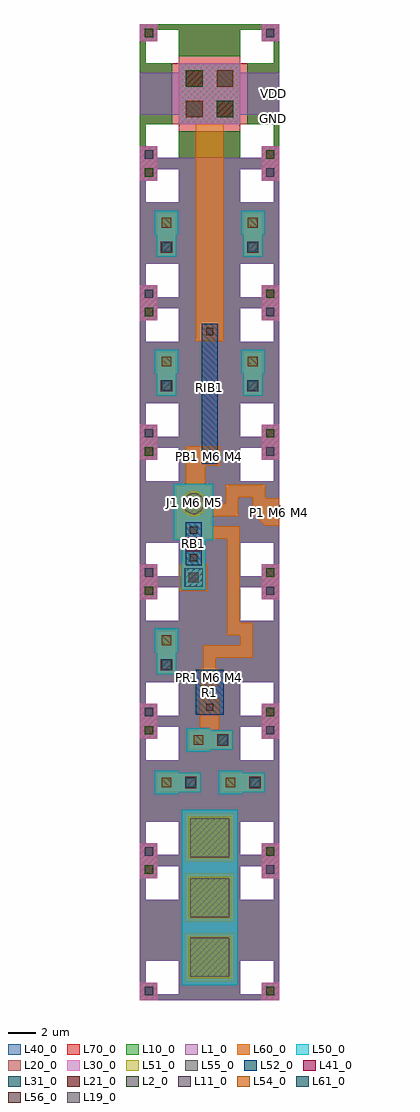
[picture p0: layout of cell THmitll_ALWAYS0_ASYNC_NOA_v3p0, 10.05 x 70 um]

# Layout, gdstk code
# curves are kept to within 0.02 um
from math import pi, radians
import gdstk
lib = gdstk.Library(unit=1e-6, precision=1e-09)
def R(c, l, rs):  # rectangles x0, y0, x1, y1
    for r in rs: c.add(gdstk.rectangle(r[:2], r[2:], *l))
def P(c, l, *ps):  # polygons
    for p in ps: c.add(gdstk.Polygon(p, *l))
L1_0 = (1, 0)
L2_0 = (2, 0)
L10_0 = (10, 0)
L11_0 = (11, 0)
L19_0 = (19, 0)
L20_0 = (20, 0)
L21_0 = (21, 0)
L30_0 = (30, 0)
L31_0 = (31, 0)
L40_0 = (40, 0)
L41_0 = (41, 0)
L50_0 = (50, 0)
L51_0 = (51, 0)
L52_0 = (52, 0)
L54_0 = (54, 0)
L55_0 = (55, 0)
L56_0 = (56, 0)
L60_0 = (60, 0)
L61_0 = (61, 0)
L70_0 = (70, 0)

ls_tr_m7_1 = lib.new_cell('ls_tr_M7$1')
P(ls_tr_m7_1, L70_0, [(0,0),(0,10),(1.25,10),(1.25,8.75),(0.4,8.75),(0.4,1.25),(1.25,1.25),(1.25,0.4),(2.8,0.4),(2.8,2.8),(0.4,2.8),(0.4,7.2),(2.8,7.2),(2.8,9.6),(1.25,9.6),(1.25,10),(7.2,10),(7.2,0.4),(8.75,0.4),(8.75,1.25),(9.6,1.25),(9.6,2.8),(7.2,2.8),(7.2,7.2),(9.6,7.2),(9.6,8.75),(8.75,8.75),(8.75,9.6),(7.2,9.6),(7.2,10),(10,10),(10,0)])

ls_tr_u_m4_nptl = lib.new_cell('ls_tr_u_M4_NPTL')
P(ls_tr_u_m4_nptl, L1_0, [(0,0),(0,10),(1.25,10),(1.25,8.75),(0.4,8.75),(0.4,1.25),(1.25,1.25),(1.25,0.4),(2.8,0.4),(2.8,2.8),(0.4,2.8),(0.4,7.2),(2.8,7.2),(2.8,9.6),(1.25,9.6),(1.25,10),(7.2,10),(7.2,0.4),(8.75,0.4),(8.75,1.25),(9.6,1.25),(9.6,2.8),(7.2,2.8),(7.2,7.2),(9.6,7.2),(9.6,8.75),(8.75,8.75),(8.75,9.6),(7.2,9.6),(7.2,10),(10,10),(10,0)])
R(ls_tr_u_m4_nptl, L2_0, [(9.05,0.35,9.65,0.95), (0.35,9.05,0.95,9.65)])
R(ls_tr_u_m4_nptl, L10_0, [(0,0,1.25,1.25), (8.75,0,10,1.25), (0,8.75,1.25,10), (8.75,8.75,10,10)])
P(ls_tr_u_m4_nptl, L10_0, [(1.25,0),(1.25,0.4),(2.8,0.4),(2.8,2.8),(0.4,2.8),(0.4,1.25),(0,1.25),(0,8.75),(0.4,8.75),(0.4,7.2),(2.8,7.2),(2.8,9.6),(1.25,9.6),(1.25,10),(8.75,10),(8.75,9.6),(7.2,9.6),(7.2,7.2),(9.6,7.2),(9.6,8.75),(10,8.75),(10,1.25),(9.6,1.25),(9.6,2.8),(7.2,2.8),(7.2,0.4),(8.75,0.4),(8.75,0)])
R(ls_tr_u_m4_nptl, L11_0, [(0.35,0.35,0.95,0.95), (9.05,9.05,9.65,9.65)])
R(ls_tr_u_m4_nptl, L20_0, [(0,0,1.25,1.25), (8.75,0,10,1.25), (0,8.75,1.25,10), (8.75,8.75,10,10)])
R(ls_tr_u_m4_nptl, L21_0, [(9.05,0.35,9.65,0.95), (0.35,9.05,0.95,9.65)])
R(ls_tr_u_m4_nptl, L30_0, [(0,0,1.25,1.25), (8.75,0,10,1.25), (0,8.75,1.25,10), (8.75,8.75,10,10)])
R(ls_tr_u_m4_nptl, L31_0, [(0.35,0.35,0.95,0.95), (9.05,9.05,9.65,9.65)])
P(ls_tr_u_m4_nptl, L40_0, [(0,0),(0,10),(1.25,10),(1.25,8.75),(0.4,8.75),(0.4,1.25),(1.25,1.25),(1.25,0.4),(2.8,0.4),(2.8,2.8),(0.4,2.8),(0.4,7.2),(2.8,7.2),(2.8,9.6),(1.25,9.6),(1.25,10),(7.2,10),(7.2,0.4),(8.75,0.4),(8.75,1.25),(9.6,1.25),(9.6,2.8),(7.2,2.8),(7.2,7.2),(9.6,7.2),(9.6,8.75),(8.75,8.75),(8.75,9.6),(7.2,9.6),(7.2,10),(10,10),(10,0)])
ls_tr_u_m4_nptl.add(gdstk.Reference(ls_tr_m7_1, (0,0)))

ls_tr_bias_pillar_m0m6 = lib.new_cell('ls_tr_bias_pillar_M0M6')
R(ls_tr_bias_pillar_m0m6, L1_0, [(0,0,1.25,1.25), (8.75,0,10,1.25), (2.8,2.8,7.2,7.2), (0,8.75,1.25,10), (8.75,8.75,10,10)])
R(ls_tr_bias_pillar_m0m6, L2_0, [(9.05,0.35,9.65,0.95), (5.5,3.3,6.7,4.5), (3.3,5.5,4.5,6.7), (0.35,9.05,0.95,9.65)])
R(ls_tr_bias_pillar_m0m6, L10_0, [(0,0,1.25,1.25), (8.75,0,10,1.25), (2.8,2.8,7.2,7.2), (0,8.75,1.25,10), (8.75,8.75,10,10)])
P(ls_tr_bias_pillar_m0m6, L10_0, [(0,0),(0,10),(7.2,10),(7.2,7.7),(2.8,7.7),(2.8,9.6),(1.25,9.6),(1.25,8.75),(0.4,8.75),(0.4,7.2),(2.3,7.2),(2.3,2.8),(0.4,2.8),(0.4,1.25),(1.25,1.25),(1.25,0.4),(2.8,0.4),(2.8,2.3),(7.2,2.3),(7.2,0.4),(8.75,0.4),(8.75,1.25),(9.6,1.25),(9.6,2.8),(7.7,2.8),(7.7,7.2),(9.6,7.2),(9.6,8.75),(8.75,8.75),(8.75,9.6),(7.2,9.6),(7.2,10),(10,10),(10,0)])
R(ls_tr_bias_pillar_m0m6, L11_0, [(0.35,0.35,0.95,0.95), (3.3,3.3,4.5,4.5), (5.5,5.5,6.7,6.7), (9.05,9.05,9.65,9.65)])
R(ls_tr_bias_pillar_m0m6, L20_0, [(0,0,1.25,1.25), (8.75,0,10,1.25), (2.8,2.8,7.2,7.2), (0,8.75,1.25,10), (8.75,8.75,10,10)])
R(ls_tr_bias_pillar_m0m6, L21_0, [(9.05,0.35,9.65,0.95), (5.5,3.3,6.7,4.5), (3.3,5.5,4.5,6.7), (0.35,9.05,0.95,9.65)])
R(ls_tr_bias_pillar_m0m6, L30_0, [(0,0,1.25,1.25), (8.75,0,10,1.25), (2.8,2.8,7.2,7.2), (0,8.75,1.25,10), (8.75,8.75,10,10)])
R(ls_tr_bias_pillar_m0m6, L31_0, [(0.35,0.35,0.95,0.95), (3.3,3.3,4.5,4.5), (5.5,5.5,6.7,6.7), (9.05,9.05,9.65,9.65)])
R(ls_tr_bias_pillar_m0m6, L40_0, [(2.8,2.8,7.2,7.2)])
P(ls_tr_bias_pillar_m0m6, L40_0, [(0,0),(0,10),(7.2,10),(7.2,7.7),(2.8,7.7),(2.8,9.6),(1.25,9.6),(1.25,8.75),(0.4,8.75),(0.4,7.2),(2.3,7.2),(2.3,2.8),(0.4,2.8),(0.4,1.25),(1.25,1.25),(1.25,0.4),(2.8,0.4),(2.8,2.3),(7.2,2.3),(7.2,0.4),(8.75,0.4),(8.75,1.25),(9.6,1.25),(9.6,2.8),(7.7,2.8),(7.7,7.2),(9.6,7.2),(9.6,8.75),(8.75,8.75),(8.75,9.6),(7.2,9.6),(7.2,10),(10,10),(10,0)])
R(ls_tr_bias_pillar_m0m6, L41_0, [(5.5,3.3,6.7,4.5), (3.3,5.5,4.5,6.7)])
R(ls_tr_bias_pillar_m0m6, L50_0, [(2.8,2.8,7.2,7.2)])
R(ls_tr_bias_pillar_m0m6, L54_0, [(3.3,3.3,4.5,4.5), (5.5,5.5,6.7,6.7)])
R(ls_tr_bias_pillar_m0m6, L60_0, [(2.8,2.8,7.2,7.2)])
P(ls_tr_bias_pillar_m0m6, L70_0, [(0,0),(0,10),(1.25,10),(1.25,8.75),(0.4,8.75),(0.4,1.25),(1.25,1.25),(1.25,0.4),(2.8,0.4),(2.8,2.8),(0.4,2.8),(0.4,7.2),(2.8,7.2),(2.8,9.6),(1.25,9.6),(1.25,10),(7.2,10),(7.2,0.4),(8.75,0.4),(8.75,1.25),(9.6,1.25),(9.6,2.8),(7.2,2.8),(7.2,7.2),(9.6,7.2),(9.6,8.75),(8.75,8.75),(8.75,9.6),(7.2,9.6),(7.2,10),(10,10),(10,0)])

ls_conn_m5m6m7 = lib.new_cell('ls_conn_M5M6M7')
R(ls_conn_m5m6m7, L60_0, [(-0.65,-0.65,1.35,1.35)])
R(ls_conn_m5m6m7, L61_0, [(-0.3,-0.3,1,1)])
R(ls_conn_m5m6m7, L70_0, [(-0.65,-0.65,1.35,1.35)])

th_jj_250_sg = lib.new_cell('th_jj_250_sg')
R(th_jj_250_sg, L41_0, [(-0.5,2.4,0.5,3.4)])
R(th_jj_250_sg, L50_0, [(-1.425,-1.425,1.425,2.625), (-0.875,2.625,0.875,6.175)])
P(th_jj_250_sg, L51_0, [(0,-0.91),(-0.18,-0.895),(-0.35,-0.84),(-0.645,-0.645),(-0.84,-0.35),(-0.91,0),(-0.895,0.18),(-0.84,0.35),(-0.645,0.645),(-0.35,0.84),(-0.18,0.895),(0,0.91),(0.18,0.895),(0.35,0.84),(0.645,0.645),(0.84,0.35),(0.895,0.18),(0.91,0),(0.84,-0.35),(0.645,-0.645),(0.35,-0.84),(0.18,-0.895)])
R(th_jj_250_sg, L52_0, [(-0.575,1.35,0.575,4.425)])
R(th_jj_250_sg, L54_0, [(-0.35,4.95,0.35,5.65)])
P(th_jj_250_sg, L55_0, [(0,-0.76),(-0.15,-0.75),(-0.29,-0.7),(-0.54,-0.54),(-0.7,-0.29),(-0.75,-0.15),(-0.76,0),(-0.75,0.15),(-0.7,0.29),(-0.54,0.54),(-0.29,0.7),(-0.15,0.75),(0,0.76),(0.15,0.75),(0.29,0.7),(0.54,0.54),(0.7,0.29),(0.75,0.15),(0.76,0),(0.75,-0.15),(0.7,-0.29),(0.54,-0.54),(0.29,-0.7),(0.15,-0.75)])
R(th_jj_250_sg, L56_0, [(-0.26,1.64,0.26,2.16), (-0.26,3.63,0.26,4.15)])
R(th_jj_250_sg, L60_0, [(-1.275,-1.275,1.275,2.525), (-0.725,3.25,0.725,6.025)])
th_jj_250_sg.add(gdstk.Reference(ls_conn_m5m6m7, (0.35,5.65), rotation=pi))

th_ib_175 = lib.new_cell('th_ib_175')
R(th_ib_175, L52_0, [(-0.575,0,0.575,10.05)])
R(th_ib_175, L56_0, [(-0.26,0.29,0.26,0.81), (-0.26,9.26,0.26,9.78)])
R(th_ib_175, L60_0, [(-0.625,-0.1,0.625,1.175), (-0.625,8.9,0.625,10.15)])

ls_conn_m4m5m6m7 = lib.new_cell('ls_conn_M4M5M6M7')
R(ls_conn_m4m5m6m7, L40_0, [(0,0,1.4,1.4)])
R(ls_conn_m4m5m6m7, L41_0, [(0.3,0.3,1.1,1.1)])
P(ls_conn_m4m5m6m7, L50_0, [(1.6,-0.15),(1.6,0),(0,0),(0,1.4),(1.6,1.4),(1.6,1.55),(3.3,1.55),(3.3,-0.15)])
R(ls_conn_m4m5m6m7, L54_0, [(2.1,0.35,2.8,1.05)])
R(ls_conn_m4m5m6m7, L60_0, [(0,0,3.15,1.4)])
R(ls_conn_m4m5m6m7, L61_0, [(0.35,0.35,1.05,1.05)])
R(ls_conn_m4m5m6m7, L70_0, [(0,0,1.4,1.4)])

ls_fakejj_3umx3um = lib.new_cell('ls_FakeJJ_3umx3um')
R(ls_fakejj_3umx3um, L40_0, [(-2,-2,2,2)])
R(ls_fakejj_3umx3um, L50_0, [(-2,-2,2,2)])
R(ls_fakejj_3umx3um, L51_0, [(-1.5,-1.5,1.5,1.5)])
R(ls_fakejj_3umx3um, L55_0, [(-1.4,-1.4,1.4,1.4)])
R(ls_fakejj_3umx3um, L60_0, [(-1.75,-1.75,1.75,1.75)])

ls_res_2 = lib.new_cell('ls_res_2')
R(ls_res_2, L52_0, [(-1,0,1,3.225)])
R(ls_res_2, L56_0, [(-0.26,0.29,0.26,0.81), (-0.26,2.44,0.26,2.96)])
R(ls_res_2, L60_0, [(-0.625,-0.1,0.625,1.175), (-0.625,2.075,0.625,3.325)])

thmitll_always0_async_no = lib.new_cell('THmitll_ALWAYS0_ASYNC_NOA_v3p0')
R(thmitll_always0_async_no, L1_0, [(1.25,60,8.75,60.4)])
R(thmitll_always0_async_no, L19_0, [(4.75,22.9,5.25,23.45), (4.75,38.75,5.25,39.25)])
R(thmitll_always0_async_no, L50_0, [(3,1.05,7,13.65)])
P(thmitll_always0_async_no, L60_0, [(9,34),(8.1,34.9),(9,34.9)])
thmitll_always0_async_no.add(gdstk.FlexPath([(10,35),(9,35)], 2, ends="flush", simple_path=True, layer=60, datatype=0))  # L60_0
thmitll_always0_async_no.add(gdstk.FlexPath([(5.75,39),(4,39),(4,36.8)], 1.4, ends="flush", simple_path=True, layer=60, datatype=0))  # L60_0
thmitll_always0_async_no.add(gdstk.FlexPath([(5,47.25),(5,65)], 2, ends="flush", simple_path=True, layer=60, datatype=0))  # L60_0
thmitll_always0_async_no.add(gdstk.FlexPath([(8.55,34.9),(8.55,36.5),(6.6,36.5),(6.6,35.15),(5,35.15)], 0.9, ends="flush", simple_path=True, layer=60, datatype=0))  # L60_0
thmitll_always0_async_no.add(gdstk.FlexPath([(5,21.65),(5,19.05)], 1.4, ends="flush", simple_path=True, layer=60, datatype=0))  # L60_0
thmitll_always0_async_no.add(gdstk.FlexPath([(5,22.5),(5,25),(7.65,25),(7.65,26.6),(6.7,26.6),(6.7,33.525),(5,33.525)], 0.9, ends="flush", simple_path=True, layer=60, datatype=0))  # L60_0
thmitll_always0_async_no.add(gdstk.FlexPath([(0,65),(10,65)], 3, ends="flush", simple_path=True, layer=1, datatype=0))  # L1_0
thmitll_always0_async_no.add(gdstk.FlexPath([(10,35.5),(10,34.5)], 0.1, ends="flush", simple_path=True, layer=19, datatype=0))  # L19_0
r = gdstk.Reference(ls_tr_u_m4_nptl, (0,0)); r.repetition = gdstk.Repetition(1, 6, v1=(0,0), v2=(0,10)); thmitll_always0_async_no.add(r)
thmitll_always0_async_no.add(gdstk.Reference(ls_tr_bias_pillar_m0m6, (10,70), rotation=pi))
thmitll_always0_async_no.add(gdstk.Reference(th_jj_250_sg, (3.85,35.6), rotation=pi))
thmitll_always0_async_no.add(gdstk.Reference(th_ib_175, (5,48.5), rotation=pi))
thmitll_always0_async_no.add(gdstk.Reference(ls_conn_m4m5m6m7, (2.6,53.3), rotation=pi/2))
thmitll_always0_async_no.add(gdstk.Reference(ls_conn_m4m5m6m7, (8.8,53.3), rotation=pi/2))
thmitll_always0_async_no.add(gdstk.Reference(ls_conn_m4m5m6m7, (2.6,43.35), rotation=pi/2))
thmitll_always0_async_no.add(gdstk.Reference(ls_conn_m4m5m6m7, (8.8,43.35), rotation=pi/2))
thmitll_always0_async_no.add(gdstk.Reference(ls_conn_m4m5m6m7, (6.65,19.35), rotation=pi))
r = gdstk.Reference(ls_fakejj_3umx3um, (5,11.65), rotation=pi); r.repetition = gdstk.Repetition(1, 3, v1=(0,0), v2=(0,-4.3)); thmitll_always0_async_no.add(r)
thmitll_always0_async_no.add(gdstk.Reference(ls_conn_m4m5m6m7, (4.35,16.3), rotation=pi))
thmitll_always0_async_no.add(gdstk.Reference(ls_conn_m4m5m6m7, (8.95,16.3), rotation=pi))
thmitll_always0_async_no.add(gdstk.Reference(ls_conn_m4m5m6m7, (2.6,23.35), rotation=pi/2))
thmitll_always0_async_no.add(gdstk.Reference(ls_res_2, (5,23.7), rotation=pi))
thmitll_always0_async_no.add(gdstk.Label('GND', (9.6,63.25), layer=40, texttype=0))
thmitll_always0_async_no.add(gdstk.Label('VDD', (9.6,65), layer=1, texttype=0))
thmitll_always0_async_no.add(gdstk.Label('P1 M6 M4', (10,35), layer=182, texttype=0))
thmitll_always0_async_no.add(gdstk.Label('J1 M6 M5', (3.9,35.65), layer=182, texttype=0))
thmitll_always0_async_no.add(gdstk.Label('PB1 M6 M4', (5,39), layer=182, texttype=0))
thmitll_always0_async_no.add(gdstk.Label('PR1 M6 M4', (5,23.15), layer=182, texttype=0))
thmitll_always0_async_no.add(gdstk.Label('RB1', (3.85,32.75), layer=52, texttype=11))
thmitll_always0_async_no.add(gdstk.Label('RIB1', (5,43.95), layer=52, texttype=11))
thmitll_always0_async_no.add(gdstk.Label('R1', (5,22.05), layer=52, texttype=11))
thmitll_always0_async_no.add(gdstk.Label('q', (10,35), layer=60, texttype=5))

lib.write_gds('THmitll_ALWAYS0_ASYNC_NOA_v3p0.gds')
